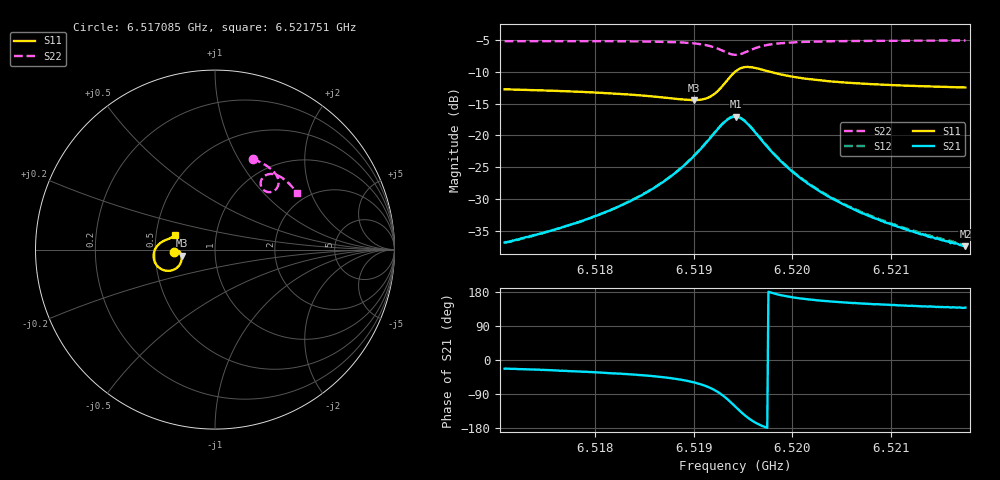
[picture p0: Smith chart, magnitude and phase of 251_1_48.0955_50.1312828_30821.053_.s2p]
#  HZ  S  RI  R  50.00
! Rohde & Schwarz Vector Network Analyzer
! Rohde-Schwarz,ZNB20-2Port,1311601062101988,3.16
! Created: UTC 12/23/2023, 3:59:45 AM
! freq[Hz]  re:S11  im:S11  re:S21  im:S21  re:S12  im:S12  re:S22  im:S22
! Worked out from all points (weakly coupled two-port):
!   401 points, 6.517085 GHz to 6.521751 GHz, reference 50 ohm
!   highest |S21| = -17.07 dB at 6.51943 GHz (marker M1); lowest = -37.4 dB at 6.521751 GHz (marker M2)
!   lowest |S11| = -14.5 dB at 6.518998 GHz (marker M3), VSWR 1.47, Z = 34.2 - j2.42 ohm
!   |S11| at or under -10 dB: start of sweep to 6.51942 GHz; 6.519769 GHz to end of sweep
!   |S22| runs from -7.4 to -5.1 dB; largest |S21 - S12| = 0.0042
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6.517085e9  -0.2297 -0.0153  0.0133 -0.00564  0.0134 -0.00501  0.2091 0.507
6.5174466e9  -0.2256 -0.01  0.0153 -0.00742  0.0155 -0.00696  0.2358 0.4956
6.5178666e9  -0.2195 -0.00542  0.0182 -0.0109  0.0187 -0.0102  0.2668 0.4795
6.5182749e9  -0.2113 -0.00357  0.0229 -0.0169  0.0235 -0.0162  0.2974 0.4601
6.5186482e9  -0.1997 -0.00869  0.0293 -0.0286  0.0304 -0.0278  0.3264 0.4353
6.5188465e9  -0.1919 -0.0185  0.0335 -0.0414  0.035 -0.0406  0.3416 0.4158
6.5189981e9  -0.1862 -0.0341  0.0354 -0.0585  0.0374 -0.0577  0.3515 0.3942
6.5191148e9  -0.1858 -0.0557  0.0322 -0.0794  0.0348 -0.0789  0.3544 0.3708
6.5191964e9  -0.193 -0.0777  0.0224 -0.0991  0.0255 -0.0992  0.349 0.3503
6.5193248e9  -0.2365 -0.1144  -0.0222 -0.1282  -0.0186 -0.1297  0.3153 0.3216
6.5193714e9  -0.2649 -0.1183  -0.0482 -0.1287  -0.0449 -0.1311  0.2947 0.3207
6.5194181e9  -0.2953 -0.1108  -0.0745 -0.1187  -0.0719 -0.1219  0.2745 0.3292
6.5194298e9  -0.3024 -0.107  -0.0805 -0.1147  -0.0779 -0.118  0.2703 0.3328
6.5194881e9  -0.3301 -0.0794  -0.1021 -0.0876  -0.1003 -0.0913  0.256 0.3555
6.5195464e9  -0.3416 -0.0466  -0.1086 -0.0581  -0.1079 -0.0616  0.2557 0.3798
6.5197214e9  -0.3229 0.0189  -0.0854 -0.00461  -0.0861 -0.00714  0.2897 0.4177
6.5199547e9  -0.2895 0.0464  -0.0543 0.0122  -0.0552 0.0106  0.3314 0.4193
6.5201997e9  -0.2689 0.0558  -0.0372 0.0143  -0.0379 0.0135  0.3604 0.408
6.5205496e9  -0.2518 0.0624  -0.0245 0.0133  -0.0252 0.0128  0.3896 0.3882
6.5209812e9  -0.2392 0.0687  -0.0167 0.0115  -0.0174 0.0112  0.4179 0.3625
6.5213429e9  -0.2315 0.0736  -0.013 0.0102  -0.0134 0.0101  0.438 0.3406
6.5217512e9  -0.2242 0.0791  -0.0101 0.009  -0.0105 0.00911  0.4582 0.3151
